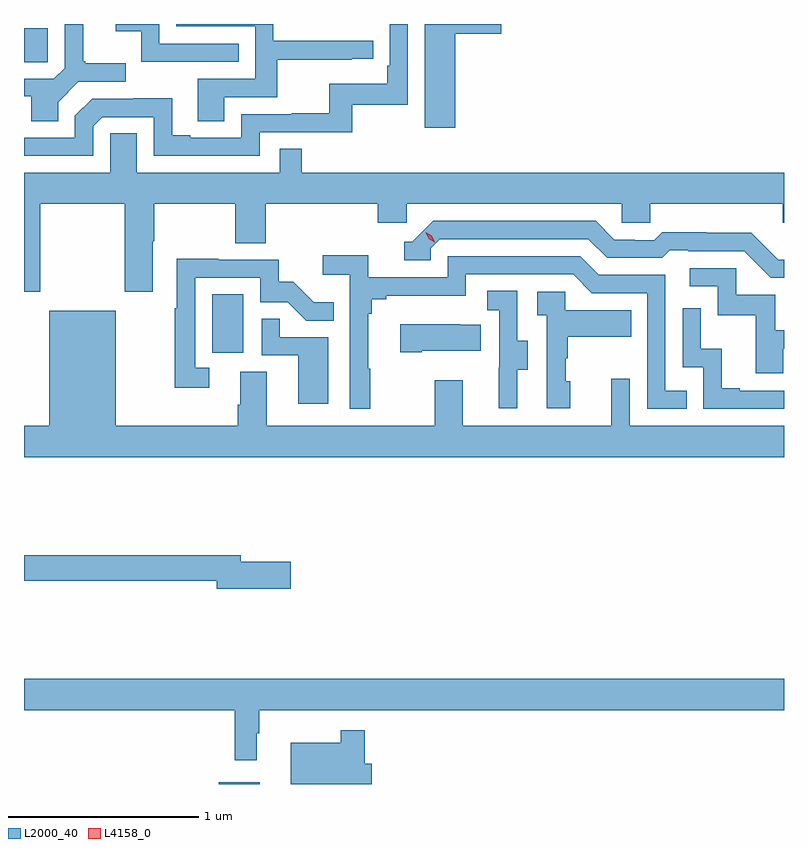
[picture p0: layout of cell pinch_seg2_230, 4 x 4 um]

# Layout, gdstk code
import gdstk
lib = gdstk.Library(unit=1e-6, precision=1e-09)
def R(c, l, rs):  # rectangles x0, y0, x1, y1
    for r in rs: c.add(gdstk.rectangle(r[:2], r[2:], *l))
def P(c, l, *ps):  # polygons
    for p in ps: c.add(gdstk.Polygon(p, *l))
L2000_40 = (2000, 40)
L4158_0 = (4158, 0)

pinch_seg2_230 = lib.new_cell('pinch_seg2_230')
R(pinch_seg2_230, L2000_40, [(925.262,647.247,925.477,647.257), (925.226,649.518,925.39,649.825), (924.236,651.045,924.36,651.225)])
P(pinch_seg2_230, L2000_40, [(924.6,650.709),(924.648,650.757),(924.918,650.757),(924.918,650.553),(925.476,650.553),(925.476,650.676),(925.963,650.676),(925.963,650.823),(926.256,650.823),(926.256,651.247),(926.16,651.247),(926.16,651.028),(926.147,651.028),(926.147,650.932),(925.842,650.932),(925.842,650.777),(925.645,650.777),(925.645,650.772),(925.38,650.772),(925.38,650.649),(925.111,650.649),(925.111,650.662),(925.015,650.662),(925.015,650.855),(924.81,650.855),(924.81,650.853),(924.594,650.853),(924.504,650.763),(924.504,650.649),(924.236,650.649),(924.236,650.553),(924.6,650.553)],
  [(925.367,651.144),(924.948,651.144),(924.948,651.247),(924.719,651.247),(924.719,651.209),(924.852,651.209),(924.852,651.048),(925.367,651.048)],
  [(925.291,650.862),(925.568,650.862),(925.568,651.058),(925.961,651.058),(925.961,651.063),(926.074,651.063),(926.074,651.159),(925.548,651.159),(925.548,651.247),(925.036,651.247),(925.036,651.234),(925.452,651.234),(925.452,650.958),(925.151,650.958),(925.151,650.734),(925.291,650.734)],
  [(926.506,651.197),(926.749,651.197),(926.749,651.247),(926.345,651.247),(926.345,650.7),(926.506,650.7)],
  [(924.415,650.836),(924.522,650.943),(924.772,650.943),(924.772,651.04),(924.559,651.04),(924.559,651.052),(924.547,651.052),(924.547,651.247),(924.45,651.247),(924.45,651.015),(924.393,650.958),(924.236,650.958),(924.236,650.866),(924.275,650.866),(924.275,650.734),(924.415,650.734)],
  [(924.321,650.3),(924.766,650.3),(924.766,649.839),(924.913,649.839),(924.913,650.104),(924.921,650.104),(924.921,650.3),(925.348,650.3),(925.348,650.092),(925.508,650.092),(925.508,650.3),(926.099,650.3),(926.099,650.202),(926.25,650.202),(926.25,650.3),(927.381,650.3),(927.381,650.202),(927.531,650.202),(927.531,650.3),(928.229,650.3),(928.229,650.202),(928.236,650.202),(928.236,650.464),(925.697,650.464),(925.697,650.591),(925.581,650.591),(925.581,650.464),(924.829,650.464),(924.829,650.672),(924.69,650.672),(924.69,650.464),(924.236,650.464),(924.236,649.839),(924.321,649.839)],
  [(928.236,650.007),(928.206,650.007),(928.064,650.149),(927.828,650.149),(927.828,650.152),(927.595,650.152),(927.553,650.109),(927.45,650.109),(927.45,650.112),(927.343,650.112),(927.244,650.211),(926.391,650.211),(926.28,650.1),(926.237,650.1),(926.237,650.004),(926.376,650.004),(926.376,650.067),(926.424,650.115),(927.207,650.115),(927.306,650.016),(927.595,650.016),(927.634,650.055),(927.733,650.055),(927.733,650.052),(928.026,650.052),(928.167,649.911),(928.236,649.911)],
  [(926.059,649.433),(926.047,649.433),(926.047,649.721),(926.066,649.721),(926.066,649.798),(926.143,649.798),(926.143,649.817),(926.562,649.817),(926.562,649.929),(927.126,649.929),(927.225,649.83),(927.516,649.83),(927.516,649.221),(927.725,649.221),(927.725,649.317),(927.612,649.317),(927.612,649.926),(927.262,649.926),(927.163,650.025),(926.466,650.025),(926.466,649.914),(926.048,649.914),(926.048,650.03),(925.809,650.03),(925.809,649.928),(925.95,649.928),(925.95,649.221),(926.059,649.221)],
  [(925.21,649.437),(925.137,649.437),(925.137,649.911),(925.479,649.911),(925.479,649.782),(925.623,649.782),(925.721,649.684),(925.865,649.684),(925.865,649.783),(925.761,649.783),(925.654,649.89),(925.578,649.89),(925.578,650.007),(925.259,650.007),(925.259,650.012),(925.041,650.012),(925.041,649.751),(925.029,649.751),(925.029,649.332),(925.21,649.332)],
  [(928.231,649.539),(928.236,649.539),(928.236,649.635),(928.189,649.635),(928.189,649.821),(927.984,649.821),(927.984,649.962),(927.741,649.962),(927.741,649.866),(927.888,649.866),(927.888,649.713),(928.087,649.713),(928.087,649.41),(928.231,649.41)],
  [(926.833,649.426),(926.887,649.426),(926.887,649.581),(926.832,649.581),(926.832,649.844),(926.673,649.844),(926.673,649.741),(926.736,649.741),(926.736,649.437),(926.735,649.437),(926.735,649.224),(926.833,649.224)],
  [(927.112,649.368),(927.087,649.368),(927.087,649.487),(927.097,649.487),(927.097,649.601),(927.431,649.601),(927.431,649.741),(927.084,649.741),(927.084,649.839),(926.937,649.839),(926.937,649.715),(926.988,649.715),(926.988,649.224),(927.112,649.224)],
  [(928.236,649.317),(928.003,649.317),(928.003,649.33),(927.908,649.33),(927.908,649.538),(927.798,649.538),(927.798,649.75),(927.702,649.75),(927.702,649.44),(927.81,649.44),(927.81,649.221),(928.236,649.221)],
  [(928.236,649.132),(927.423,649.132),(927.423,649.381),(927.326,649.381),(927.326,649.132),(926.545,649.132),(926.545,649.372),(926.398,649.372),(926.398,649.132),(925.513,649.132),(925.513,649.418),(925.373,649.418),(925.373,649.244),(925.361,649.244),(925.361,649.132),(924.718,649.132),(924.718,649.738),(924.368,649.738),(924.368,649.132),(924.236,649.132),(924.236,648.968),(928.236,648.968)],
  [(925.837,649.599),(925.583,649.599),(925.583,649.697),(925.488,649.697),(925.488,649.503),(925.679,649.503),(925.679,649.248),(925.837,649.248)],
  [(926.329,649.526),(926.639,649.526),(926.639,649.663),(926.531,649.663),(926.531,649.666),(926.217,649.666),(926.217,649.519),(926.329,649.519)],
  [(925.639,648.416),(925.378,648.416),(925.378,648.452),(924.236,648.452),(924.236,648.316),(925.25,648.316),(925.25,648.274),(925.639,648.274)],
  [(925.462,647.513),(925.474,647.513),(925.474,647.636),(928.236,647.636),(928.236,647.8),(924.236,647.8),(924.236,647.636),(925.345,647.636),(925.345,647.373),(925.462,647.373)],
  [(926.065,647.353),(926.03,647.353),(926.03,647.53),(925.902,647.53),(925.902,647.464),(925.64,647.464),(925.64,647.247),(926.065,647.247)])
P(pinch_seg2_230, L4158_0, [(926.398,650.099),(926.367,650.118),(926.35,650.151),(926.35,650.151),(926.35,650.151),(926.382,650.132),(926.398,650.099),(926.398,650.099)])

lib.write_gds('pinch_seg2_230.gds')
